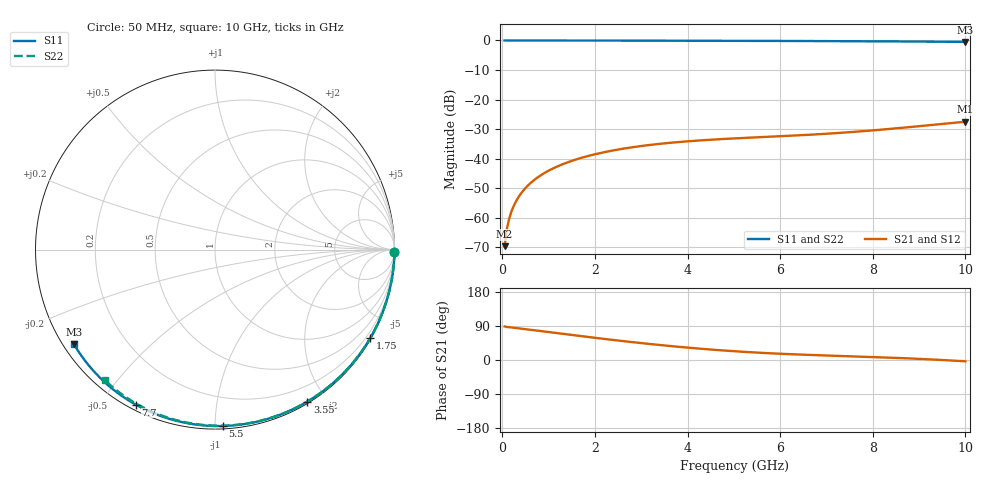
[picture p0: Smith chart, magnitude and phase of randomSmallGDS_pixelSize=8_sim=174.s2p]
! freq	dB(S11)	phase(S11)	dB(S12)	phase(S12)
!  dB(S21)	phase(S21)	dB(S22)	phase(S22)
!S-par simulation data
#  GHz  S  DB  R 50
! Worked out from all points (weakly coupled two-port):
!   200 points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, 50 MHz to 10 GHz, reference 50 ohm
!   highest |S21| = -27.52 dB at 10 GHz (marker M1); lowest = -69.7 dB at 50 MHz (marker M2)
!   lowest |S11| = -0.5 dB at 10 GHz (marker M3), VSWR 36.01, Z = 1.52 - j15.1 ohm
!   |S11| at or under -10 dB: nowhere
!   |S22| runs from -0.4 to 0.0 dB; largest |S21 - S12| = 0
!   S11 on the Smith chart (normalised r, x): 50 MHz: open; 1.75 GHz: 0.03, -3.77; 3.55 GHz: 0.02, -1.78; 5.5 GHz: 0.02, -1.04; 7.7 GHz: 0.02, -0.61; 10 GHz: 0.03, -0.30
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0.05  -0.00 -0.9  -69.68 88.4  -69.68 88.4  -0.00 -0.8
0.1  -0.00 -1.7  -63.75 87.3  -63.75 87.3  -0.00 -1.5
0.15  -0.00 -2.6  -60.29 86.5  -60.29 86.5  -0.00 -2.3
0.2  -0.00 -3.5  -57.84 85.7  -57.84 85.7  -0.00 -3.1
0.25  -0.00 -4.3  -55.94 85.0  -55.94 85.0  -0.00 -3.8
0.35  -0.00 -6.1  -53.05 83.6  -53.05 83.6  -0.00 -5.3
0.5  -0.01 -8.6  -50.00 81.4  -50.00 81.4  -0.01 -7.6
0.7  -0.01 -12.1  -47.12 78.3  -47.12 78.3  -0.01 -10.6
1  -0.02 -17.2  -44.11 73.7  -44.11 73.7  -0.02 -15.1
1.35  -0.03 -23.1  -41.63 68.3  -41.63 68.3  -0.03 -20.4
1.75  -0.04 -29.7  -39.57 62.2  -39.57 62.2  -0.03 -26.3
2.5  -0.05 -42.1  -36.95 51.4  -36.95 51.4  -0.05 -37.2
3.4  -0.07 -56.4  -35.02 39.6  -35.02 39.6  -0.07 -50.0
3.55  -0.08 -58.7  -34.78 37.8  -34.78 37.8  -0.07 -52.0
4.3  -0.10 -70.1  -33.83 29.5  -33.83 29.5  -0.09 -62.3
5.05  -0.12 -81.1  -33.15 22.8  -33.15 22.8  -0.11 -72.2
5.5  -0.14 -87.5  -32.81 19.5  -32.81 19.5  -0.13 -77.9
6.7  -0.20 -104.0  -31.88 13.1  -31.88 13.1  -0.18 -92.8
7.7  -0.26 -117.1  -30.84 9.2  -30.84 9.2  -0.24 -104.5
8.35  -0.32 -125.4  -29.99 6.5  -29.99 6.5  -0.28 -112.0
9.2  -0.39 -136.2  -28.74 1.9  -28.74 1.9  -0.35 -121.5
10  -0.48 -146.3  -27.52 -3.5  -27.52 -3.5  -0.43 -130.2
